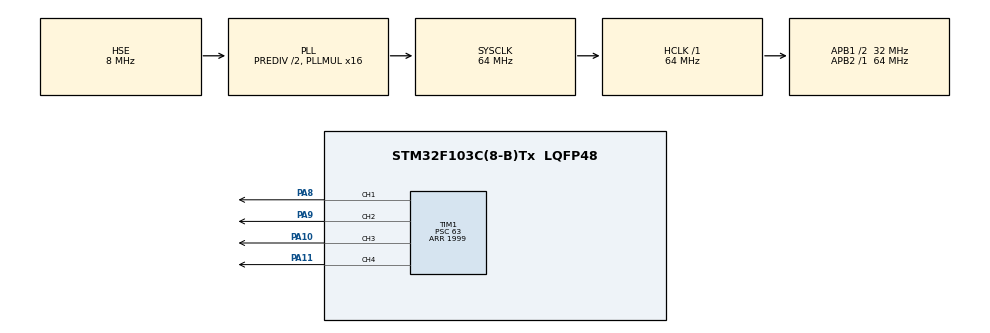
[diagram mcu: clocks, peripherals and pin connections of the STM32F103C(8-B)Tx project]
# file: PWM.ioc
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Mcu.Family=STM32F1
Mcu.Name=STM32F103C(8-B)Tx
Mcu.Package=LQFP48
NVIC.PriorityGroup=NVIC_PRIORITYGROUP_4
PA10.Signal=S_TIM1_CH3
PA11.Signal=S_TIM1_CH4
PA13.Mode=Serial_Wire
PA13.Signal=SYS_JTMS-SWDIO
PA14.Mode=Serial_Wire
PA14.Signal=SYS_JTCK-SWCLK
PA8.Signal=S_TIM1_CH1
PA9.Signal=S_TIM1_CH2
PD0-OSC_IN.Mode=HSE-External-Oscillator
PD0-OSC_IN.Signal=RCC_OSC_IN
PD1-OSC_OUT.Mode=HSE-External-Oscillator
PD1-OSC_OUT.Signal=RCC_OSC_OUT
ProjectManager.HeapSize=0x200
ProjectManager.StackSize=0x400
ProjectManager.TargetToolchain=MDK-ARM V5.32
RCC.AHBFreq_Value=64000000
RCC.APB1CLKDivider=RCC_HCLK_DIV2
RCC.APB1Freq_Value=32000000
RCC.APB1TimFreq_Value=64000000
RCC.APB2Freq_Value=64000000
RCC.APB2TimFreq_Value=64000000
RCC.HCLKFreq_Value=64000000
RCC.HSEDivPLL=RCC_HSE_PREDIV_DIV2
RCC.PLLMUL=RCC_PLL_MUL16
RCC.PLLSourceVirtual=RCC_PLLSOURCE_HSE
RCC.SYSCLKFreq_VALUE=64000000
RCC.SYSCLKSource=RCC_SYSCLKSOURCE_PLLCLK
RCC.USBFreq_Value=64000000
SH.S_TIM1_CH1.0=TIM1_CH1,PWM Generation1 CH1
SH.S_TIM1_CH2.0=TIM1_CH2,PWM Generation2 CH2
SH.S_TIM1_CH3.0=TIM1_CH3,PWM Generation3 CH3
SH.S_TIM1_CH4.0=TIM1_CH4,PWM Generation4 CH4
TIM1.Channel-PWM\ Generation1\ CH1=TIM_CHANNEL_1
TIM1.Channel-PWM\ Generation2\ CH2=TIM_CHANNEL_2
TIM1.Channel-PWM\ Generation3\ CH3=TIM_CHANNEL_3
TIM1.Channel-PWM\ Generation4\ CH4=TIM_CHANNEL_4
TIM1.Period=1999
TIM1.Prescaler=63
VP_TIM1_VS_ClockSourceINT.Mode=Internal
board=custom

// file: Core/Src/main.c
/* USER CODE BEGIN Header */
/**
  ******************************************************************************
  * @file           : main.c
  * @brief          : Main program body
  ******************************************************************************
  * @attention
  *
  * Copyright (c) 2024 STMicroelectronics.
  * All rights reserved.
  *
  * This software is licensed under terms that can be found in the LICENSE file
  * in the root directory of this software component.
  * If no LICENSE file comes with this software, it is provided AS-IS.
  *
  ******************************************************************************
  */
/* USER CODE END Header */
#include "main.h"

TIM_HandleTypeDef htim1;

void SystemClock_Config(void);
static void MX_GPIO_Init(void);
static void MX_TIM1_Init(void);

/* USER CODE BEGIN 0 */
// duty : 0->100%
void PWM_set_duty(TIM_HandleTypeDef *htim, uint32_t channel, uint8_t duty)
{
    uint32_t PWM = (duty * (htim->Init.Period + 1))/100;
    HAL_TIM_PWM_Start(htim, channel);

    // dat gia tri channel tuong ung coi CCR
    switch (channel)
    {
        case TIM_CHANNEL_1:
            htim->Instance->CCR1 = PWM;
            break;
        case TIM_CHANNEL_2:
            htim->Instance->CCR2 = PWM;
            break;
        case TIM_CHANNEL_3:
            htim->Instance->CCR3 = PWM;
            break;
        case TIM_CHANNEL_4:
            htim->Instance->CCR4 = PWM;
            break;
        default:
            break;
    }
}

/* USER CODE END 0 */

int main(void)
{

  /* MCU Configuration--------------------------------------------------------*/

  /* Reset of all peripherals, Initializes the Flash interface and the Systick. */
  HAL_Init();

  /* Configure the system clock */
  SystemClock_Config();

  /* Initialize all configured peripherals */
  MX_GPIO_Init();
  MX_TIM1_Init();
  /* USER CODE BEGIN 2 */
//	HAL_TIM_PWM_Start(&htim1, TIM_CHANNEL_1);
//	HAL_TIM_PWM_Start(&htim1, TIM_CHANNEL_2);
//	HAL_TIM_PWM_Start(&htim1, TIM_CHANNEL_3);
//	HAL_TIM_PWM_Start(&htim1, TIM_CHANNEL_4);
//

//	htim1.Instance->CCR1 = 500;
//	htim1.Instance->CCR2 = 1000;
//	htim1.Instance->CCR3 = 1500;
//	htim1.Instance->CCR4 = 2000;
	uint8_t i;
  /* USER CODE END 2 */

  /* Infinite loop */
  while (1)
  {

    /* USER CODE BEGIN 3 */
		//sang dan led bang pwm o chan PA8
		for(i=0; i<100;i++)
		{
			PWM_set_duty(&htim1, TIM_CHANNEL_1, i);
			HAL_Delay(100);
		}
		//tat dan led bang PWM o chan PA8
		for(i=100;i>0;i--)
		{
			PWM_set_duty(&htim1, TIM_CHANNEL_1, i);
			HAL_Delay(100);
		}
  }
  /* USER CODE END 3 */
}

void SystemClock_Config(void)
{
  RCC_OscInitTypeDef RCC_OscInitStruct = {0};
  RCC_ClkInitTypeDef RCC_ClkInitStruct = {0};

  /** Initializes the RCC Oscillators according to the specified parameters
  * in the RCC_OscInitTypeDef structure.
  */
  RCC_OscInitStruct.OscillatorType = RCC_OSCILLATORTYPE_HSE;
  RCC_OscInitStruct.HSEState = RCC_HSE_ON;
  RCC_OscInitStruct.HSEPredivValue = RCC_HSE_PREDIV_DIV2;
  RCC_OscInitStruct.HSIState = RCC_HSI_ON;
  RCC_OscInitStruct.PLL.PLLState = RCC_PLL_ON;
  RCC_OscInitStruct.PLL.PLLSource = RCC_PLLSOURCE_HSE;
  RCC_OscInitStruct.PLL.PLLMUL = RCC_PLL_MUL16;
  if (HAL_RCC_OscConfig(&RCC_OscInitStruct) != HAL_OK)
  {
    Error_Handler();
  }

  /** Initializes the CPU, AHB and APB buses clocks
  */
  RCC_ClkInitStruct.ClockType = RCC_CLOCKTYPE_HCLK|RCC_CLOCKTYPE_SYSCLK
                              |RCC_CLOCKTYPE_PCLK1|RCC_CLOCKTYPE_PCLK2;
  RCC_ClkInitStruct.SYSCLKSource = RCC_SYSCLKSOURCE_PLLCLK;
  RCC_ClkInitStruct.AHBCLKDivider = RCC_SYSCLK_DIV1;
  RCC_ClkInitStruct.APB1CLKDivider = RCC_HCLK_DIV2;
  RCC_ClkInitStruct.APB2CLKDivider = RCC_HCLK_DIV1;

  if (HAL_RCC_ClockConfig(&RCC_ClkInitStruct, FLASH_LATENCY_2) != HAL_OK)
  {
    Error_Handler();
  }
}

static void MX_TIM1_Init(void)
{

  TIM_ClockConfigTypeDef sClockSourceConfig = {0};
  TIM_MasterConfigTypeDef sMasterConfig = {0};
  TIM_OC_InitTypeDef sConfigOC = {0};
  TIM_BreakDeadTimeConfigTypeDef sBreakDeadTimeConfig = {0};

  htim1.Instance = TIM1;
  htim1.Init.Prescaler = 63;
  htim1.Init.CounterMode = TIM_COUNTERMODE_UP;
  htim1.Init.Period = 1999;
  htim1.Init.ClockDivision = TIM_CLOCKDIVISION_DIV1;
  htim1.Init.RepetitionCounter = 0;
  htim1.Init.AutoReloadPreload = TIM_AUTORELOAD_PRELOAD_DISABLE;
  if (HAL_TIM_Base_Init(&htim1) != HAL_OK)
  {
    Error_Handler();
  }
  sClockSourceConfig.ClockSource = TIM_CLOCKSOURCE_INTERNAL;
  if (HAL_TIM_ConfigClockSource(&htim1, &sClockSourceConfig) != HAL_OK)
  {
    Error_Handler();
  }
  if (HAL_TIM_PWM_Init(&htim1) != HAL_OK)
  {
    Error_Handler();
  }
  sMasterConfig.MasterOutputTrigger = TIM_TRGO_RESET;
  sMasterConfig.MasterSlaveMode = TIM_MASTERSLAVEMODE_DISABLE;
  if (HAL_TIMEx_MasterConfigSynchronization(&htim1, &sMasterConfig) != HAL_OK)
  {
    Error_Handler();
  }
  sConfigOC.OCMode = TIM_OCMODE_PWM1;
  sConfigOC.Pulse = 0;
  sConfigOC.OCPolarity = TIM_OCPOLARITY_HIGH;
  sConfigOC.OCNPolarity = TIM_OCNPOLARITY_HIGH;
  sConfigOC.OCFastMode = TIM_OCFAST_DISABLE;
  sConfigOC.OCIdleState = TIM_OCIDLESTATE_RESET;
  sConfigOC.OCNIdleState = TIM_OCNIDLESTATE_RESET;
  if (HAL_TIM_PWM_ConfigChannel(&htim1, &sConfigOC, TIM_CHANNEL_1) != HAL_OK)
  {
    Error_Handler();
  }
  if (HAL_TIM_PWM_ConfigChannel(&htim1, &sConfigOC, TIM_CHANNEL_2) != HAL_OK)
  {
    Error_Handler();
  }
  if (HAL_TIM_PWM_ConfigChannel(&htim1, &sConfigOC, TIM_CHANNEL_3) != HAL_OK)
  {
    Error_Handler();
  }
  if (HAL_TIM_PWM_ConfigChannel(&htim1, &sConfigOC, TIM_CHANNEL_4) != HAL_OK)
  {
    Error_Handler();
  }
  sBreakDeadTimeConfig.OffStateRunMode = TIM_OSSR_DISABLE;
  sBreakDeadTimeConfig.OffStateIDLEMode = TIM_OSSI_DISABLE;
  sBreakDeadTimeConfig.LockLevel = TIM_LOCKLEVEL_OFF;
  sBreakDeadTimeConfig.DeadTime = 0;
  sBreakDeadTimeConfig.BreakState = TIM_BREAK_DISABLE;
  sBreakDeadTimeConfig.BreakPolarity = TIM_BREAKPOLARITY_HIGH;
  sBreakDeadTimeConfig.AutomaticOutput = TIM_AUTOMATICOUTPUT_DISABLE;
  if (HAL_TIMEx_ConfigBreakDeadTime(&htim1, &sBreakDeadTimeConfig) != HAL_OK)
  {
    Error_Handler();
  }
  HAL_TIM_MspPostInit(&htim1);

}

static void MX_GPIO_Init(void)
{

  /* GPIO Ports Clock Enable */
  __HAL_RCC_GPIOD_CLK_ENABLE();
  __HAL_RCC_GPIOA_CLK_ENABLE();

}

void Error_Handler(void)
{
  __disable_irq();
  while (1)
  {
  }
}
